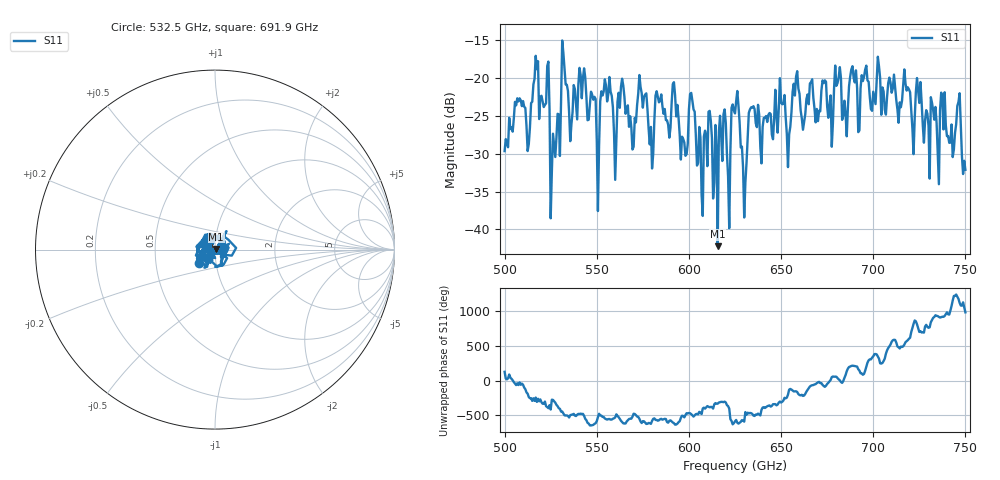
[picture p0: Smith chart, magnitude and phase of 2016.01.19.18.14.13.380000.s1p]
!Created with skrf (http://scikit-rf.org).
# GHz S RI R 50.0
!freq ReS11 ImS11
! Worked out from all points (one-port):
!   401 points, 500 GHz to 750 GHz, reference 50 ohm
!   lowest |S11| = -42.2 dB at 615.6 GHz (marker M1), VSWR 1.02, Z = 50.7 + j0.377 ohm
!   |S11| at or under -10 dB: start of sweep to end of sweep
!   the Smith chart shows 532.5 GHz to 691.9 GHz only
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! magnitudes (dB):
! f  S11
! 500 GHz  -29.6
! 506.9 GHz  -22.7
! 513.1 GHz  -28.7
! 516.9 GHz  -17.1
! 523.1 GHz  -18.4
! 526.2 GHz  -27.3
! 531.2 GHz  -15.0
! 541.9 GHz  -22.7
! 550.6 GHz  -37.6
! 553.8 GHz  -21.8
! 560 GHz  -33.4
! 562.5 GHz  -23.9
! 568.8 GHz  -26.5
! 574.4 GHz  -22.0
! 579.4 GHz  -26.5
! 583.1 GHz  -22.5
! 593.8 GHz  -23.5
! 615.6 GHz  -42.2
! 621.9 GHz  -39.8
! 625 GHz  -24.7
! 630 GHz  -38.4
! 633.8 GHz  -23.9
! 656.2 GHz  -21.8
! 687.5 GHz  -19.8
! 718.8 GHz  -21.2
! 734.4 GHz  -25.9
! 746.2 GHz  -23.2
! 750 GHz  -32.1
